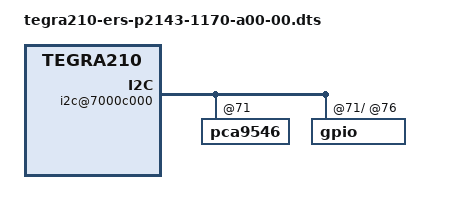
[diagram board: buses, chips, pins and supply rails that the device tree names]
/*
 * Copyright (c) 2015, NVIDIA CORPORATION.  All rights reserved.
 *
 * This program is free software; you can redistribute it and/or modify
 * it under the terms of the GNU General Public License as published by
 * the Free Software Foundation; version 2 of the License.
 *
 * This program is distributed in the hope that it will be useful, but WITHOUT
 * ANY WARRANTY; without even the implied warranty of MERCHANTABILITY or
 * FITNESS FOR A PARTICULAR PURPOSE.  See the GNU General Public License for
 * more details.
 *
 * You should have received a copy of the GNU General Public License along
 * with this program; if not, write to the Free Software Foundation, Inc.,
 * 51 Franklin Street, Fifth Floor, Boston, MA  02110-1301, USA.
 */

#include "tegra210-ers-e2220-1170-a00-00-common.dts"
#include "tegra210-platforms/tegra210-ers-p2143-emc.dtsi"

/ {
	nvidia,dtsfilename = __FILE__;

	i2c@7000c000 {
		pca9546@71 {
			i2c@3 {
				gpio@76 {
					pcie-mux {
						gpio-output-low = <12 14 15>;
						gpio-output-high = <5 6 11 13>;
					};
				};
			};
		};
	};
};
